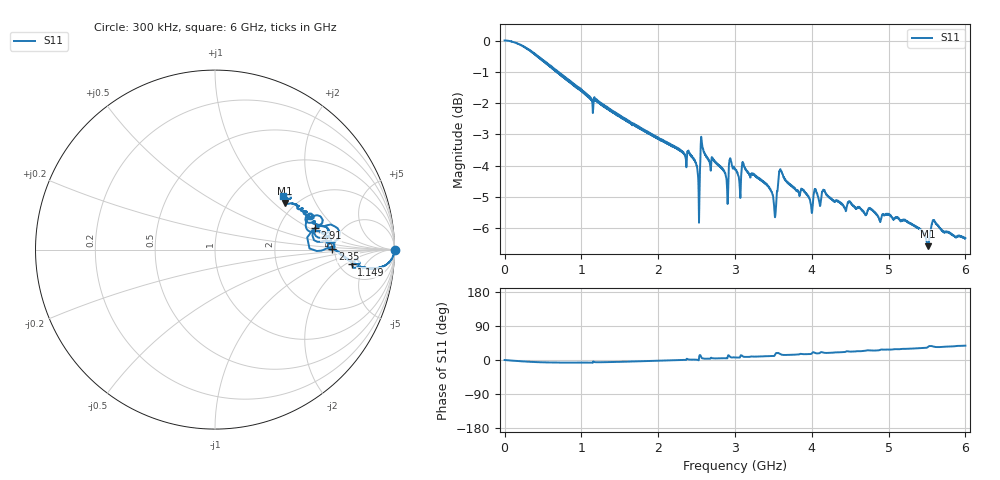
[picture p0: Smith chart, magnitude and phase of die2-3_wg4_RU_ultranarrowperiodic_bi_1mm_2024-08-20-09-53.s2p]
!Keysight Technologies,P9374A,MY57304198,A.17.20.09
!Date: Tuesday, August 20, 2024 09:53:28
!Correction: S11(C  1-Port  )
!S21(C  1-Port  )
!S12(Off)
!S22(Off)
!S2P File: Measurements: S11, S21, S12, S22:
# Hz S  dB  R 50
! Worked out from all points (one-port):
!   6000 points, 300 kHz to 6 GHz, reference 50 ohm
!   lowest |S11| = -6.6 dB at 5.508 GHz (marker M1), VSWR 2.77, Z = 88.8 + j59.2 ohm
!   |S11| at or under -10 dB: nowhere
!   S11 on the Smith chart (normalised r, x): 300 kHz: open; 1.149 GHz: 6.48, -2.58; 2.35 GHz: 4.77, +0.04; 2.91 GHz: 3.20, +1.12; 6 GHz: 1.63, +1.26
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300000  0.00 -0.0  -200.00 45.0  -200.00 45.0  -200.00 45.0
4.37351e8  -0.50 -5.6  -200.00 45.0  -200.00 45.0  -200.00 45.0
1.000417e9  -1.62 -6.9  -200.00 45.0  -200.00 45.0  -200.00 45.0
1.149434e9  -2.32 -6.2  -200.00 45.0  -200.00 45.0  -200.00 45.0
2.000533e9  -3.15 -1.8  -200.00 45.0  -200.00 45.0  -200.00 45.0
2.349574e9  -3.70 0.2  -200.00 45.0  -200.00 45.0  -200.00 45.0
2.500592e9  -4.02 0.8  -200.00 45.0  -200.00 45.0  -200.00 45.0
2.522594e9  -4.48 -0.5  -200.00 45.0  -200.00 45.0  -200.00 45.0
2.561599e9  -3.10 6.9  -200.00 45.0  -200.00 45.0  -200.00 45.0
2.650609e9  -3.77 3.3  -200.00 45.0  -200.00 45.0  -200.00 45.0
2.872635e9  -4.24 4.6  -200.00 45.0  -200.00 45.0  -200.00 45.0
2.909639e9  -4.91 12.0  -200.00 45.0  -200.00 45.0  -200.00 45.0
3.00065e9  -4.09 6.7  -200.00 45.0  -200.00 45.0  -200.00 45.0
3.098661e9  -3.90 10.2  -200.00 45.0  -200.00 45.0  -200.00 45.0
3.487707e9  -4.92 10.6  -200.00 45.0  -200.00 45.0  -200.00 45.0
3.560715e9  -4.56 18.8  -200.00 45.0  -200.00 45.0  -200.00 45.0
3.663727e9  -4.50 13.4  -200.00 45.0  -200.00 45.0  -200.00 45.0
4.000767e9  -5.52 17.7  -200.00 45.0  -200.00 45.0  -200.00 45.0
5.000883e9  -5.57 27.5  -200.00 45.0  -200.00 45.0  -200.00 45.0
5.507943e9  -6.58 33.7  -200.00 45.0  -200.00 45.0  -200.00 45.0
5.591952e9  -5.74 34.9  -200.00 45.0  -200.00 45.0  -200.00 45.0
6e9  -6.32 37.9  -200.00 45.0  -200.00 45.0  -200.00 45.0
